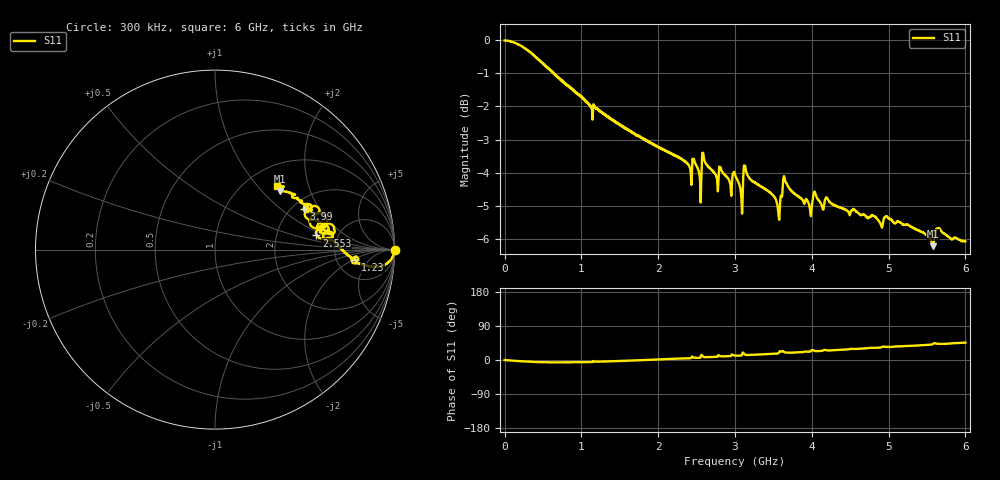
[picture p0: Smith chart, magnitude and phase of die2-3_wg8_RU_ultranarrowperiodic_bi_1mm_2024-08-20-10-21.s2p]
!Keysight Technologies,P9374A,MY57304198,A.17.20.09
!Date: Tuesday, August 20, 2024 10:21:20
!Correction: S11(C  1-Port  )
!S21(C  1-Port  )
!S12(Off)
!S22(Off)
!S2P File: Measurements: S11, S21, S12, S22:
# Hz S  dB  R 50
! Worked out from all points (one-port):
!   6000 points, 300 kHz to 6 GHz, reference 50 ohm
!   lowest |S11| = -6.2 dB at 5.575 GHz (marker M1), VSWR 2.91, Z = 74.1 + j63.6 ohm
!   |S11| at or under -10 dB: nowhere
!   S11 on the Smith chart (normalised r, x): 300 kHz: open; 1.23 GHz: 7.49, -2.27; 2.553 GHz: 3.45, +0.80; 3.99 GHz: 2.30, +1.47; 6 GHz: 1.36, +1.28
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300000  0.00 -0.0  -200.00 45.0  -200.00 45.0  -200.00 45.0
4.273498e8  -0.54 -5.4  -200.00 45.0  -200.00 45.0  -200.00 45.0
1.000417e9  -1.71 -5.7  -200.00 45.0  -200.00 45.0  -200.00 45.0
1.230444e9  -2.13 -4.3  -200.00 45.0  -200.00 45.0  -200.00 45.0
2.000533e9  -3.23 1.4  -200.00 45.0  -200.00 45.0  -200.00 45.0
2.521594e9  -3.92 5.9  -200.00 45.0  -200.00 45.0  -200.00 45.0
2.552598e9  -4.88 7.9  -200.00 45.0  -200.00 45.0  -200.00 45.0
2.600603e9  -3.63 7.6  -200.00 45.0  -200.00 45.0  -200.00 45.0
2.758622e9  -4.14 8.4  -200.00 45.0  -200.00 45.0  -200.00 45.0
3.00065e9  -4.08 11.4  -200.00 45.0  -200.00 45.0  -200.00 45.0
3.077659e9  -4.62 11.6  -200.00 45.0  -200.00 45.0  -200.00 45.0
3.122664e9  -3.80 15.5  -200.00 45.0  -200.00 45.0  -200.00 45.0
3.184672e9  -4.16 13.3  -200.00 45.0  -200.00 45.0  -200.00 45.0
3.539713e9  -4.87 16.9  -200.00 45.0  -200.00 45.0  -200.00 45.0
3.611721e9  -4.73 22.8  -200.00 45.0  -200.00 45.0  -200.00 45.0
3.662727e9  -4.30 19.7  -200.00 45.0  -200.00 45.0  -200.00 45.0
3.989765e9  -5.31 24.5  -200.00 45.0  -200.00 45.0  -200.00 45.0
4.000767e9  -4.99 25.9  -200.00 45.0  -200.00 45.0  -200.00 45.0
4.054773e9  -4.70 23.4  -200.00 45.0  -200.00 45.0  -200.00 45.0
5.000883e9  -5.39 34.5  -200.00 45.0  -200.00 45.0  -200.00 45.0
5.57495e9  -6.23 42.1  -200.00 45.0  -200.00 45.0  -200.00 45.0
6e9  -6.09 45.9  -200.00 45.0  -200.00 45.0  -200.00 45.0
